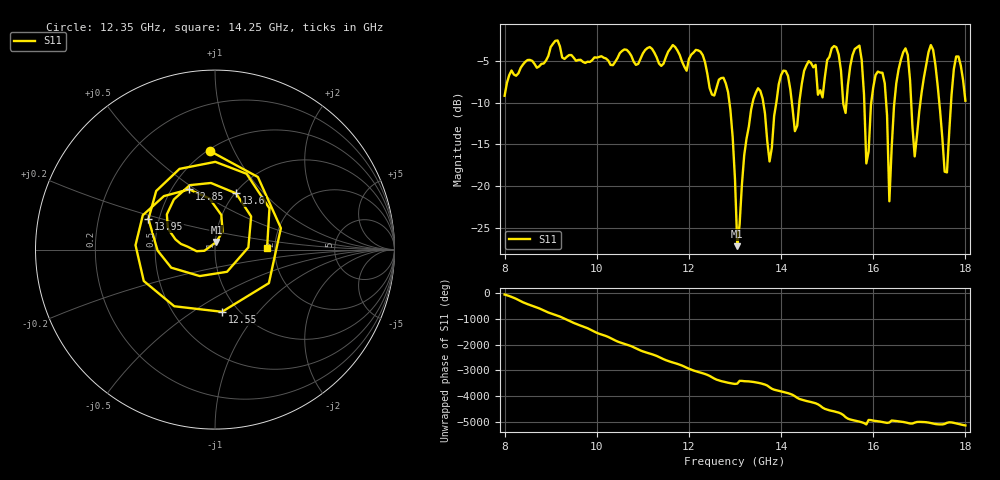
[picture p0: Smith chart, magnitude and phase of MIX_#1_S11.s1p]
#  HZ  S  DB  R  50.00
! Rohde & Schwarz ZVA67 4Ports - Version 4.11 - 1305.7002k04 SN: 101038
! Date: 2024-04-07 23:13:46
! Measurement: S11
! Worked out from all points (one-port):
!   201 points, 8 GHz to 18 GHz, reference 50 ohm
!   lowest |S11| = -27.2 dB at 13.05 GHz (marker M1), VSWR 1.09, Z = 50.6 + j4.37 ohm
!   |S11| at or under -10 dB: 12.88 GHz to 13.38 GHz (503.3 MHz wide, 3.83 % of centre); 13.61 GHz to 13.9 GHz (282.9 MHz wide, 2.06 % of centre); 17.43 GHz to 17.69 GHz (255.1 MHz wide, 1.45 % of centre)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
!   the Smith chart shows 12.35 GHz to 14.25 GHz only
!   S11 on the Smith chart (normalised r, x): 12.35 GHz: 0.51, +0.81; 12.55 GHz: 0.84, -0.66; 12.85 GHz: 0.61, +0.47; 13.6 GHz: 1.01, +0.71; 13.95 GHz: 0.44, +0.18; 14.25 GHz: 1.82, +0.03
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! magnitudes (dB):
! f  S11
! 8 GHz  -9.2
! 9.25 GHz  -4.6
! 10.5 GHz  -4.1
! 11.75 GHz  -3.8
! 12.35 GHz  -5.2
! 12.55 GHz  -9.2
! 12.85 GHz  -8.8
! 13 GHz  -19.2
! 13.05 GHz  -27.2
! 13.35 GHz  -10.8
! 13.6 GHz  -9.5
! 13.75 GHz  -17.0
! 13.95 GHz  -7.8
! 14.25 GHz  -10.7
! 15.15 GHz  -3.2
! 15.4 GHz  -11.2
! 15.5 GHz  -5.7
! 15.7 GHz  -3.2
! 15.85 GHz  -17.3
! 16.2 GHz  -6.4
! 16.35 GHz  -21.8
! 16.5 GHz  -7.7
! 16.75 GHz  -4.3
! 16.9 GHz  -16.4
! 17.25 GHz  -3.1
! 17.55 GHz  -18.3
! 17.8 GHz  -4.5
! 18 GHz  -9.8
